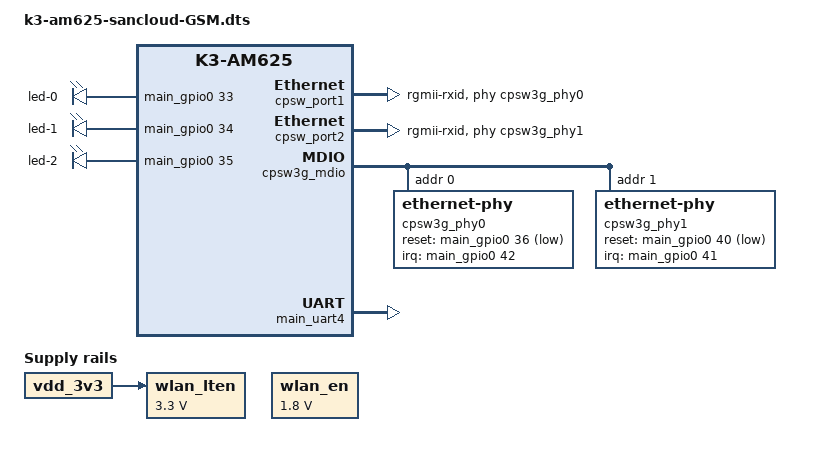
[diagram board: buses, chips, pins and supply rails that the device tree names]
// SPDX-License-Identifier: GPL-2.0
/*
 * https://sancloud.com/
 *
 * Copyright (C) 2022-2023 Texas Instruments Incorporated - https://www.ti.com/
 * Copyright (C) 2022-2023 Marc Murphy, SanCloud Ltd - https://www.sancloud.com/
 */

/dts-v1/;

#include "k3-am625-sancloud-stratus.dtsi"

/ {
	wlan_lten: regulator-30 {
		compatible = "regulator-fixed";
		regulator-name = "wlan_lten";
		regulator-min-microvolt = <3300000>;
		regulator-max-microvolt = <3300000>;
		vin-supply = <&vdd_3v3>;
		regulator-boot-on;
		enable-active-high;
	};

	wlan_en: regulator-31 {
		compatible = "regulator-fixed";
		regulator-name = "wlan_en";
		regulator-min-microvolt = <1800000>;
		regulator-max-microvolt = <1800000>;
		// vin-supply = <&wlan_lten>;
		// regulator-boot-on;
		enable-active-high;
	};

	leds {
		compatible = "gpio-leds";

		led-0 {
			gpios = <&main_gpio0 33 GPIO_ACTIVE_HIGH>;
			linux,default-trigger = "heartbeat";
			function = LED_FUNCTION_HEARTBEAT;
			default-state = "off";
		};

		led-1 {
			gpios = <&main_gpio0 34 GPIO_ACTIVE_HIGH>;
			linux,default-trigger = "disk-activity";
			function = LED_FUNCTION_DISK_ACTIVITY;
			default-state = "keep";
		};

		led-2 {
			gpios = <&main_gpio0 35 GPIO_ACTIVE_HIGH>;
			function = LED_FUNCTION_CPU;
		};
	};

};

&aliases {
		ethernet0 = &cpsw_port1;
		ethernet1 = &cpsw_port2;
		serial0 = &main_uart1;
		serial1 = &main_uart2;
		serial4 = &main_uart4;
		serial5 = &main_uart5;
	};

&{/chosen} {
		base_dtb = "k3-am625-sancloud-GSM.dtb";
	};


&main_pmx0 {

	gpio0_pins_default: gpio0-pins-default {
		pinctrl-single,pins = <
			// AM62X_IOPAD(0x0034, PIN_INPUT, 7) /* (H21) UART5_RXD GPIO_13*/
			// AM62X_IOPAD(0x0038, PIN_OUTPUT, 7) /* (E24) UART5_TXD GPIO_14*/


			AM62X_IOPAD(0x0088, PIN_OUTPUT, 7) /* (L24) GPMC0_DIR.GPIO0_33 */
			AM62X_IOPAD(0x008c, PIN_OUTPUT, 7) /* (L25) GPMC0_DIR.GPIO0_34 */
			AM62X_IOPAD(0x0090, PIN_OUTPUT, 7) /* (M24) GPMC0_DIR.GPIO0_35 */


			AM62X_IOPAD(0x0094, PIN_INPUT, 7) /* (N20) GPMC0_DIR.GPIO0_36 */
			AM62X_IOPAD(0x00a4, PIN_INPUT, 7) /* (M22) GPMC0_DIR.GPIO0_40 */
			AM62X_IOPAD(0x00a8, PIN_INPUT, 7) /* (M21) GPMC0_DIR.GPIO0_41 */
			AM62X_IOPAD(0x00ac, PIN_INPUT, 7) /* (L21) GPMC0_CSn1.GPIO0_42 */
		>;
	};

	gpio1_pins_default: gpio1-pins-default {
		pinctrl-single,pins = <
			AM62X_IOPAD(0x194, PIN_OUTPUT, 7)	/* (B19) MCASP0_AFSX.GPIO1_7*/
			AM62X_IOPAD(0x198, PIN_OUTPUT, 7)	/* (A19) MCASP0_AFSX.GPIO1_8*/
			AM62X_IOPAD(0x1a4, PIN_OUTPUT, 7)	/* (B20) MCASP0_AFSX.GPIO1_11*/
			AM62X_IOPAD(0x1b0, PIN_OUTPUT, 7)	/* (A20) MCASP0_AFSX.GPIO1_14*/


			AM62X_IOPAD(0x1b4, PIN_INPUT, 7)	/* (A13) MCASP0_AFSX.GPIO1_15*/
			AM62X_IOPAD(0x1bc, PIN_INPUT, 7)	/* (A14) MCASP0_AFSX.GPIO1_17*/
			AM62X_IOPAD(0x1c0, PIN_INPUT, 7)	/* (B13) MCASP0_AFSX.GPIO1_18*/
			AM62X_IOPAD(0x1c4, PIN_INPUT, 7)	/* (B14) MCASP0_AFSX.GPIO1_19*/
		>;
	};

	local_i2c2_pins_default: local-i2c2-pins-default {
		pinctrl-single,pins = <
			AM62X_IOPAD(0x00b0, PIN_INPUT_PULLUP, 1) /* (K22) GPMC0_CSn2.I2C2_SCL */
			AM62X_IOPAD(0x00b4, PIN_INPUT_PULLUP, 1) /* (K24) GPMC0_CSn3.I2C2_SDA */
		>;
	};

	mdio0_pins_default: mdio0-pins-default {
		pinctrl-single,pins = <
			// AM62X_IOPAD(0x0160, PIN_OUTPUT, 7) /* (AD24) MDIO0_MDC.GPIO0_86 */
			// AM62X_IOPAD(0x015c, PIN_INPUT, 7) /* (AB22) MDIO0_MDIO.GPIO0_85 */
			AM62X_IOPAD(0x0160, PIN_OUTPUT, 0) /* (AD24) MDIO0_MDC */
			AM62X_IOPAD(0x015c, PIN_INPUT, 0) /* (AB22) MDIO0_MDIO */
		>;
	};

	rgmii1_pins_default: rgmii1-pins-default {
		pinctrl-single,pins = <
			AM62X_IOPAD(0x014c, PIN_INPUT, 0) /* (AB17) RGMII1_RD0 */
			AM62X_IOPAD(0x0150, PIN_INPUT, 0) /* (AC17) RGMII1_RD1 */
			AM62X_IOPAD(0x0154, PIN_INPUT, 0) /* (AB16) RGMII1_RD2 */
			AM62X_IOPAD(0x0158, PIN_INPUT, 0) /* (AA15) RGMII1_RD3 */
			AM62X_IOPAD(0x0148, PIN_INPUT, 0) /* (AD17) RGMII1_RXC */
			AM62X_IOPAD(0x0144, PIN_INPUT, 0) /* (AE17) RGMII1_RX_CTL */
			AM62X_IOPAD(0x0134, PIN_OUTPUT, 0) /* (AE20) RGMII1_TD0 */
			AM62X_IOPAD(0x0138, PIN_OUTPUT, 0) /* (AD20) RGMII1_TD1 */
			AM62X_IOPAD(0x013c, PIN_OUTPUT, 0) /* (AE18) RGMII1_TD2 */
			AM62X_IOPAD(0x0140, PIN_OUTPUT, 0) /* (AD18) RGMII1_TD3 */
			AM62X_IOPAD(0x0130, PIN_OUTPUT, 0) /* (AE19) RGMII1_TXC */
			AM62X_IOPAD(0x012c, PIN_OUTPUT, 0) /* (AD19) RGMII1_TX_CTL */
		>;
	};

	rgmii2_pins_default: rgmii2-pins-default {
		pinctrl-single,pins = <
			AM62X_IOPAD(0x184, PIN_INPUT, 0) /* (AE23) RGMII2_RD0 */
			AM62X_IOPAD(0x188, PIN_INPUT, 0) /* (AB20) RGMII2_RD1 */
			AM62X_IOPAD(0x18c, PIN_INPUT, 0) /* (AC21) RGMII2_RD2 */
			AM62X_IOPAD(0x190, PIN_INPUT, 0) /* (AE22) RGMII2_RD3 */
			AM62X_IOPAD(0x180, PIN_INPUT, 0) /* (AD23) RGMII2_RXC */
			AM62X_IOPAD(0x17c, PIN_INPUT, 0) /* (AD22) RGMII2_RX_CTL */
			AM62X_IOPAD(0x16c, PIN_OUTPUT, 0) /* (Y18) RGMII2_TD0 */
			AM62X_IOPAD(0x170, PIN_OUTPUT, 0) /* (AA18) RGMII2_TD1 */
			AM62X_IOPAD(0x174, PIN_OUTPUT, 0) /* (AD21) RGMII2_TD2 */
			AM62X_IOPAD(0x178, PIN_OUTPUT, 0) /* (AC20) RGMII2_TD3 */
			AM62X_IOPAD(0x168, PIN_OUTPUT, 0) /* (AE21) RGMII2_TXC */
			AM62X_IOPAD(0x164, PIN_OUTPUT, 0) /* (AA19) RGMII2_TX_CTL */
		>;
	};

	rs485_pins_default: rs485-pins-default {
		pinctrl-single,pins = <
			AM62X_IOPAD(0x0128, PIN_OUTPUT, 3) /* (B23) UART4_TXD */
			AM62X_IOPAD(0x0124, PIN_INPUT, 3) /* (A23) UART4_RXD */
		>;
	};

	rs232_pins_default: rs232-pins-default {
		pinctrl-single,pins = <
			// AM62X_IOPAD(0x0034, PIN_INPUT, 5) /* (H21) UART5_RXD */
			// AM62X_IOPAD(0x0038, PIN_OUTPUT, 5) /* (E24) UART5_TXD */
			AM62X_IOPAD(0x00d0, PIN_INPUT, 4) /* (Y23) UART5_RXD */
			AM62X_IOPAD(0x00d4, PIN_OUTPUT, 4) /* (AA25) UART5_TXD */
		>;
	};

};

/* cbass_main */
/* cbass_wkup */
/* NETWORK */
&cpsw3g {
	pinctrl-names = "default";
	pinctrl-0 = <&rgmii1_pins_default>, <&rgmii2_pins_default>;
	assigned-clocks = <&k3_clks 157 70>, <&k3_clks 157 20>;
	assigned-clock-parents = <&k3_clks 157 72>, <&k3_clks 157 22>;
};

&cpsw_port1 {
	status = "okay";
	phy-mode = "rgmii-rxid";
	phy-handle = <&cpsw3g_phy0>;
};

&cpsw_port2 {
	status = "okay";
	phy-mode = "rgmii-rxid";
	phy-handle = <&cpsw3g_phy1>;
};

&cpsw3g_mdio {
	status = "okay";
	pinctrl-names = "default";
	pinctrl-0 = <&mdio0_pins_default>;

	cpsw3g_phy0: ethernet-phy@0 {
		reg = <0>;
		interrupt-parent = <&main_gpio0>;
		interrupts = <42 IRQ_TYPE_EDGE_FALLING>;
		reset-assert-us = <10000>;
		reset-deassert-us = <50000>;
		reset-gpios = <&main_gpio0 36 GPIO_ACTIVE_LOW>;
	};

	cpsw3g_phy1: ethernet-phy@1 {
		reg = <1>;
		interrupt-parent = <&main_gpio0>;
		interrupts = <41 IRQ_TYPE_EDGE_FALLING>;
		reset-assert-us = <10000>;
		reset-deassert-us = <50000>;
		reset-gpios = <&main_gpio0 40 GPIO_ACTIVE_LOW>;
	};	

};

/* GPIO */

&main_gpio0 {
	pinctrl-names = "default";
	pinctrl-0 = <&gpio0_pins_stratus
				 &gpio0_pins_default>;
	gpio-line-names = "", "", "", "", "", "", "", "",	/* 0-7 */
		"", "", "", "", "NOR_PWR_EN", "", "",			/* 8-14 */
		"", "", "", "", "", "", "",		/* 15-21 */
		"", "",	/* 22-23 */
		"", "",	/* 24-25 */
		"", "", "", "", "", "", "", "LED1", "LED2", "LED3", "ETH0_RST", "",	/* 26-37 */
		"", "", "ETH1_RST", "ETH1_IRQ", "ETH0_IRQ", "", "", "", "", "",		/* 38-47 */
		"", "", "", "";			/* 48-51 */
};

&main_gpio1 {
	pinctrl-names = "default";
	pinctrl-0 = <&gpio1_pins_default>;
	gpio-line-names = "", "", "", "", "", "", "", "",	/* 0-7 */
		"", "", "", "", "", "", "",			/* 8-14 */
		"", "", "", "", "", "", "",		/* 15-21 */
		"", "",	/* 22-23 */
		"", "",	/* 24-25 */
		"", "", "", "", "", "", "", "", "", "", "", "",	/* 26-37 */
		"", "", "", "", "", "", "", "", "", "",		/* 38-47 */
		"", "", "", "";			/* 48-51 */
};

&mcu_gpio0 {
	gpio-line-names = "", "", "", "",			/* 0-3 */
		"", "", "", "",					/* 4-7 */
		"", "", "", "",					/* 8-11 */
		"", "", "", "",					/* 12-15 */
		"", "", "", "",	/* 16-19 */
		"", "", "", "";					/* 20-23 */
};

/* I2C */
/* SDIO (EMMC/SD) */

&main_uart1 {
	status = "disabled";
};

&main_uart2 {
	status = "disabled";
};

&main_uart4 {
	bootph-all;
	pinctrl-names = "default";
	pinctrl-0 = <&rs485_pins_default>;
	status = "okay";
	linux,rs485-enabled-at-boot-time;
};

&main_uart5 {
	status = "disabled";
};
